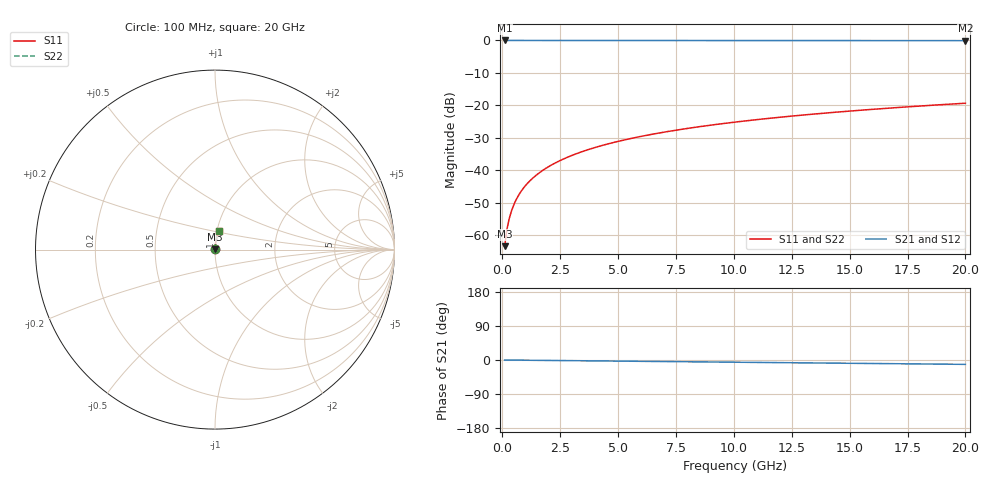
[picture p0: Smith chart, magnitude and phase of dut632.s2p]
! Touchstone file exported from HFSS 2026.1.0
!  File:  C:/ffzhzh/LocalFiles/Ansys_Project_Files/temp_train_TSV_632_1783026233_55676.aedt
!  Generated:  05:06:02 AM Jul  3, 2026
!  Design:  TSV
!  Project:  temp_train_TSV_632_1783026233_55676
! Variables:
!  h_bsmrdl = 2um
!  h_ox = 20um
!  h_rdl = 5um
!  h_sub = 92.47um
!  h_tmrdl = 5um
!  h_tsv = 92.47um
!  h_via = 3um
!  l_bsmrdl = 300um
!  l_sub = 411.88um
!  l_tmrdl = 200um
!  m_sub = 200um
!  pitch = 59.84um
!  r_tsv = 5.94um
!  s_tmrdl = 10um
!  w_bsmrdl = 18um
!  w_sub = 500um
!  w_tmrdl = 12um
!  x_tsv_center1 = 206um
!  x_tsv_center2 = 524um
!  x_tsv_center3 = 736um
!  x_tsv_center4 = 1054um
!  x_tsv_center5 = 1266um
!  x_tsv_center6 = 1584um
# GHz S MA R 50.000000
! Terminal data exported
! Port[1] = TSV1_1_T1
! Port[2] = TSV1_1_T2
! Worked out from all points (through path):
!   200 points, 100 MHz to 20 GHz, reference 50 ohm
!   highest |S21| = 0.00 dB at 100 MHz (marker M1); lowest = -0.1 dB at 20 GHz (marker M2)
!   group delay of S21, straight-line fit = 1.6 ps
!   lowest |S11| = -63.4 dB at 100 MHz (marker M3), VSWR 1.00, Z = 50 + j0.0592 ohm
!   |S11| at or under -10 dB: start of sweep to end of sweep
!   |S22| runs from -63.4 to -19.3 dB; largest |S21 - S12| = 6.3e-15
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0.1  0.0006776 60.7  0.9997 -0.1  0.9997 -0.1  0.0006776 60.7
! Gamma 0 0 0 0
! Port Impedance 50 0 50 0
0.2  0.001229 73.9  0.9997 -0.1  0.9997 -0.1  0.001229 73.9
0.3  0.001804 78.6  0.9996 -0.2  0.9996 -0.2  0.001804 78.6
0.4  0.002382 80.8  0.9996 -0.2  0.9996 -0.2  0.002382 80.8
0.5  0.002958 82.1  0.9996 -0.3  0.9996 -0.3  0.002958 82.1
0.6  0.003533 83.0  0.9996 -0.4  0.9996 -0.4  0.003533 83.0
0.7  0.004104 83.5  0.9996 -0.4  0.9996 -0.4  0.004104 83.5
0.8  0.004672 83.9  0.9995 -0.5  0.9995 -0.5  0.004672 83.9
1  0.005801 84.5  0.9995 -0.6  0.9995 -0.6  0.005801 84.5
1.4  0.00804 85.1  0.9994 -0.8  0.9994 -0.8  0.00804 85.1
1.7  0.00971 85.3  0.9993 -1.0  0.9993 -1.0  0.00971 85.3
2  0.01138 85.5  0.9993 -1.2  0.9993 -1.2  0.01138 85.5
2.7  0.01525 85.5  0.9991 -1.6  0.9991 -1.6  0.01525 85.5
3.5  0.01966 85.4  0.9989 -2.1  0.9989 -2.1  0.01966 85.4
4.2  0.0235 85.2  0.9988 -2.5  0.9988 -2.5  0.0235 85.2
5  0.02788 84.9  0.9986 -2.9  0.9986 -2.9  0.02788 84.9
6.8  0.03767 84.2  0.9981 -4.0  0.9981 -4.0  0.03767 84.2
8.3  0.04578 83.5  0.9976 -4.8  0.9976 -4.8  0.04578 83.5
10.1  0.05549 82.6  0.997 -5.9  0.997 -5.9  0.05549 82.6
13.4  0.07316 80.9  0.9956 -7.8  0.9956 -7.8  0.07316 80.9
16.7  0.09065 79.2  0.994 -9.6  0.994 -9.6  0.09065 79.2
20  0.1079 77.4  0.9921 -11.5  0.9921 -11.5  0.1079 77.4
